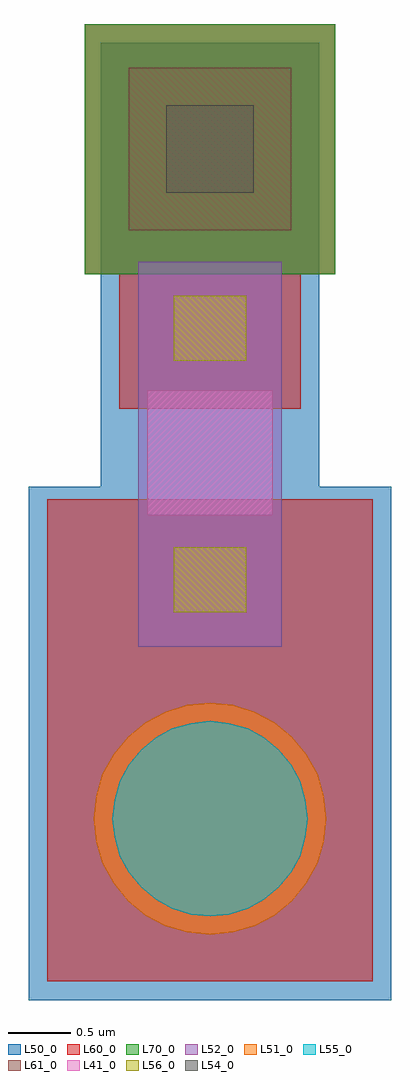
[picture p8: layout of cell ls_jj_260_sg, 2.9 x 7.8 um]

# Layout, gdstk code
import gdstk
lib = gdstk.Library(unit=1e-6, precision=1e-09)
def R(c, l, rs):  # rectangles x0, y0, x1, y1
    for r in rs: c.add(gdstk.rectangle(r[:2], r[2:], *l))
def P(c, l, *ps):  # polygons
    for p in ps: c.add(gdstk.Polygon(p, *l))
L41_0 = (41, 0)
L50_0 = (50, 0)
L51_0 = (51, 0)
L52_0 = (52, 0)
L54_0 = (54, 0)
L55_0 = (55, 0)
L56_0 = (56, 0)
L60_0 = (60, 0)
L61_0 = (61, 0)
L70_0 = (70, 0)

ls_conn_m5m6m7 = lib.new_cell('ls_conn_M5M6M7')
R(ls_conn_m5m6m7, L50_0, [(-0.5,-0.5,1.2,1.2)])
R(ls_conn_m5m6m7, L54_0, [(0,0,0.7,0.7)])
R(ls_conn_m5m6m7, L60_0, [(-0.65,-0.65,1.35,1.35)])
R(ls_conn_m5m6m7, L61_0, [(-0.3,-0.3,1,1)])
R(ls_conn_m5m6m7, L70_0, [(-0.65,-0.65,1.35,1.35)])

ls_jj_260_sg = lib.new_cell('ls_jj_260_sg')
R(ls_jj_260_sg, L41_0, [(-0.5,2.425,0.5,3.425)])
R(ls_jj_260_sg, L50_0, [(-1.45,-1.45,1.45,2.65), (-0.875,2.65,0.875,6.2)])
P(ls_jj_260_sg, L51_0, [(0,-0.93),(0.18,-0.91),(0.355,-0.86),(0.515,-0.775),(0.655,-0.66),(0.77,-0.515),(0.86,-0.355),(0.91,-0.185),(0.93,0),(0.91,0.18),(0.86,0.355),(0.77,0.515),(0.655,0.655),(0.515,0.77),(0.355,0.855),(0.18,0.91),(0,0.925),(-0.18,0.91),(-0.355,0.855),(-0.515,0.77),(-0.655,0.655),(-0.77,0.515),(-0.86,0.355),(-0.91,0.18),(-0.93,0),(-0.91,-0.185),(-0.86,-0.355),(-0.77,-0.515),(-0.655,-0.66),(-0.515,-0.775),(-0.355,-0.86),(-0.18,-0.91)])
R(ls_jj_260_sg, L52_0, [(-0.575,1.375,0.575,4.45)])
P(ls_jj_260_sg, L55_0, [(0,-0.78),(0.15,-0.77),(0.3,-0.72),(0.43,-0.65),(0.55,-0.55),(0.65,-0.43),(0.72,-0.3),(0.76,-0.15),(0.78,0),(0.76,0.15),(0.72,0.3),(0.65,0.43),(0.55,0.55),(0.43,0.65),(0.3,0.72),(0.15,0.76),(0,0.78),(-0.15,0.76),(-0.3,0.72),(-0.43,0.65),(-0.55,0.55),(-0.65,0.43),(-0.72,0.3),(-0.76,0.15),(-0.78,0),(-0.76,-0.15),(-0.72,-0.3),(-0.65,-0.43),(-0.55,-0.55),(-0.43,-0.65),(-0.3,-0.72),(-0.15,-0.77)])
R(ls_jj_260_sg, L56_0, [(-0.29,1.65,0.29,2.17), (-0.29,3.66,0.29,4.18)])
R(ls_jj_260_sg, L60_0, [(-1.3,-1.3,1.3,2.55), (-0.725,3.275,0.725,6.05)])
ls_jj_260_sg.add(gdstk.Reference(ls_conn_m5m6m7, (-0.35,5)))

lib.write_gds('ls_jj_260_sg.gds')
